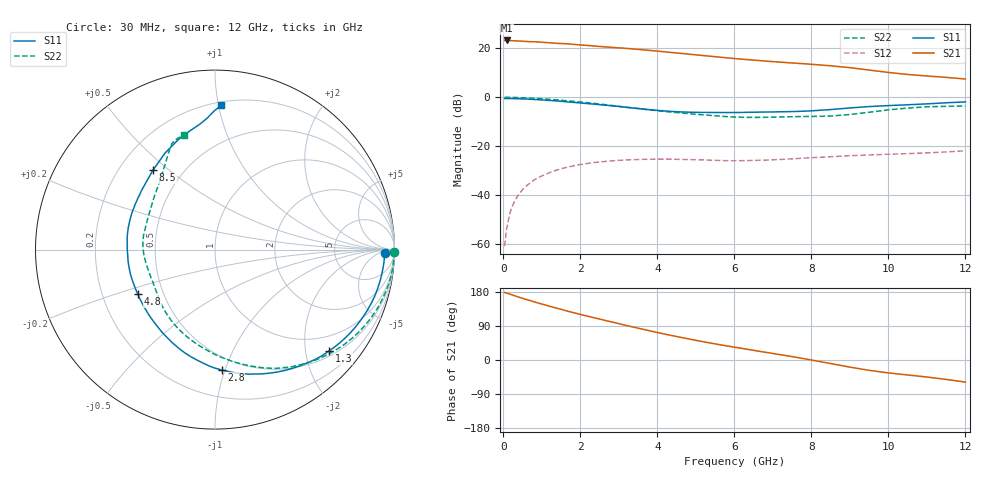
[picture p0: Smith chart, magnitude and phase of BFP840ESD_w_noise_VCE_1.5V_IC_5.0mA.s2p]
! Infineon Technologies  Discrete & RF Semiconductors
! BFP840ESD
! VCE =  1.5 V,  IC =  5.0 mA
! Common Emitter S-Parameters:  May 2012
# GHz  S  MA  R  50
!  f  S11  S21  S12  S22
! GHz  MAG  ANG  MAG  ANG  MAG  ANG  MAG  ANG
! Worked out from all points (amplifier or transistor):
!   93 points, 30 MHz to 12 GHz, reference 50 ohm
!   highest |S21| = 23.3 dB at 80 MHz (marker M1)
!   |S21| within 3 dB of that: start of sweep to 2.962 GHz
!   unconditionally stable (mu >= 1): 6.059 GHz to 10.38 GHz
!   at 1.1 GHz: K = 0.18, MSG = 26.9 dB, |S12| = -31.5 dB
!   at 4.2 GHz: K = 0.60, MSG = 21.9 dB, |S12| = -25.3 dB
!   at 12 GHz: K = 0.70, MSG = 14.7 dB, |S12| = -21.9 dB
!   lowest NFmin = 0.60 dB at 450 MHz
!   S11 on the Smith chart (normalised r, x): 30 MHz: 32, -10; 1.3 GHz: 0.61, -2.51; 2.8 GHz: 0.40, -0.97; 4.8 GHz: 0.36, -0.23; 8.5 GHz: 0.34, +0.44; 12 GHz: 0.22, +1.02
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0.03  0.9447 -1.0  14.53 178.2  0.0009 46.7  0.9965 -0.7
0.08  0.9447 -2.6  14.56 176.6  0.002 90.4  0.9968 -2.1
0.18  0.9421 -5.9  14.44 173.4  0.0046 85.1  0.9958 -5.1
0.33  0.9361 -10.8  14.25 168.2  0.0086 81.5  0.99 -9.4
0.5  0.9269 -16.3  14.04 162.6  0.013 77.1  0.979 -14.1
0.8  0.9021 -25.9  13.72 153.4  0.0205 69.6  0.9536 -22.4
1.3  0.8508 -41.5  12.88 139.1  0.0309 58.6  0.8966 -35.6
1.6  0.814 -50.9  12.52 130.7  0.0362 52.3  0.856 -43.3
2.1  0.7535 -65.9  11.64 117.7  0.0432 42.6  0.7866 -55.6
2.8  0.6712 -86.9  10.54 100.7  0.05 31.1  0.6832 -72.1
3.1  0.6341 -96.4  10.17 93.3  0.0517 26.8  0.6408 -79.3
3.4  0.6009 -105.8  9.714 86.3  0.0531 22.7  0.6007 -86.7
4.1  0.5316 -128.3  8.658 70.4  0.0542 14.3  0.5212 -104.7
4.8  0.4966 -150.2  7.654 55.9  0.0532 8.8  0.4635 -121.8
5.5  0.4889 -169.2  6.769 42.5  0.0515 5.7  0.4191 -137.4
6.1  0.489 177.5  6.122 32.2  0.0505 6.0  0.393 -150.5
7.5  0.5117 150.4  5.045 8.9  0.0551 6.8  0.4013 178.5
8.5  0.5614 128.0  4.411 -9.3  0.0608 4.6  0.4137 154.5
9  0.6058 117.3  4.042 -18.8  0.0639 2.1  0.4442 140.4
9.5  0.6464 108.4  3.612 -27.3  0.066 -0.2  0.4945 128.1
10.5  0.703 97.0  2.931 -39.5  0.0704 -4.4  0.6019 115.3
12  0.8051 87.5  2.365 -58.3  0.0806 -9.8  0.6627 104.9
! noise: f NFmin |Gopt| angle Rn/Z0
0.45  0.6  0.49  2  0.2
0.9  0.6  0.49  5  0.19
1.5  0.64  0.48  14  0.17
1.9  0.67  0.46  18  0.16
2.4  0.68  0.41  30  0.15
3.5  0.72  0.3  57  0.12
5.5  0.84  0.21  119  0.1
8  1.02  0.35  -145  0.07
10  1.19  0.5  -102  0.16
12  1.42  0.59  -79  0.26
